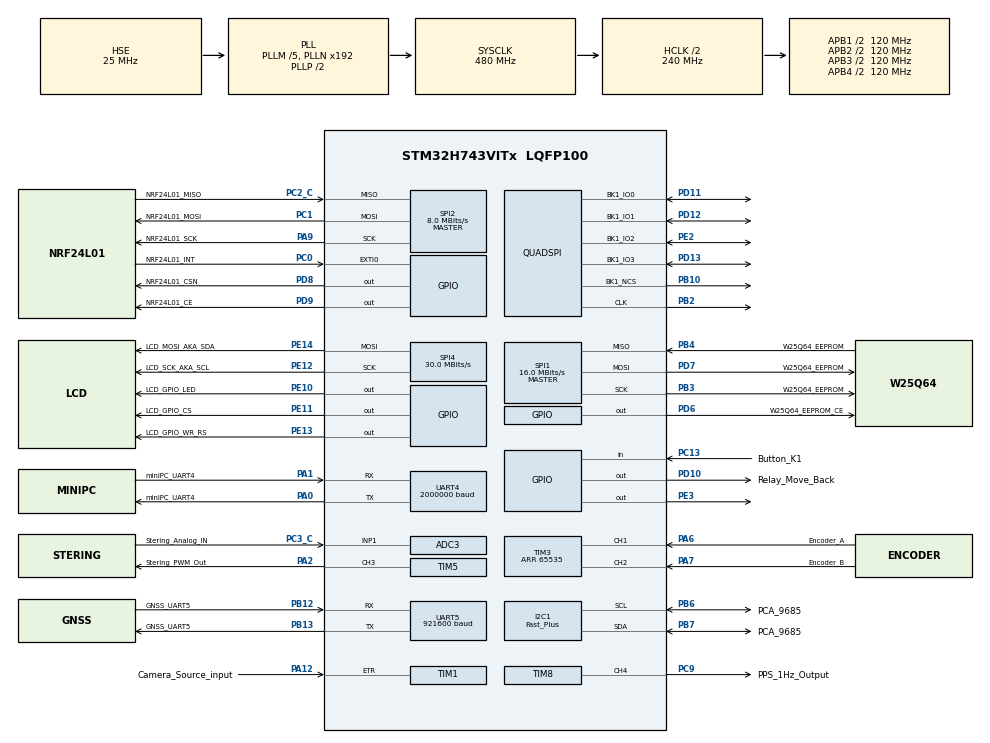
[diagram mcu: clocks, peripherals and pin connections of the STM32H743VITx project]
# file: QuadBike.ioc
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ADC3.Channel-1\#ChannelRegularConversion=ADC_CHANNEL_1
ADC3.ClockPrescalerADC3=ADC_CLOCK_ASYNC_DIV4
ADC3.ContinuousConvMode=DISABLE
ADC3.NbrOfConversion=1
ADC3.NbrOfConversionFlag=1
ADC3.OffsetNumber-1\#ChannelRegularConversion=ADC_OFFSET_NONE
ADC3.OffsetSignedSaturation-1\#ChannelRegularConversion=DISABLE
ADC3.OversamplingMode=ENABLE
ADC3.Rank-1\#ChannelRegularConversion=1
ADC3.Ratio=64
ADC3.Resolution=ADC_RESOLUTION_12B
ADC3.RightBitShift=ADC_RIGHTBITSHIFT_6
ADC3.SamplingTime-1\#ChannelRegularConversion=ADC_SAMPLETIME_810CYCLES_5
I2C1.I2C_Speed_Mode=I2C_Fast_Plus
I2C1.Timing=0x0050174F
Mcu.Family=STM32H7
Mcu.Name=STM32H743VITx
Mcu.Package=LQFP100
NVIC.EXTI0_IRQn=true\:0\:0\:false\:false\:true\:true\:true\:true
NVIC.PriorityGroup=NVIC_PRIORITYGROUP_4
NVIC.SPI4_IRQn=true\:0\:0\:false\:false\:true\:true\:true\:true
NVIC.TIM1_UP_IRQn=true\:0\:0\:false\:false\:true\:true\:true\:true
NVIC.TIM4_IRQn=true\:0\:0\:false\:false\:true\:true\:true\:true
NVIC.UART4_IRQn=true\:0\:0\:false\:false\:true\:true\:true\:true
NVIC.UART5_IRQn=true\:0\:0\:false\:false\:true\:true\:true\:true
PA0.GPIO_Label=miniPC_UART4
PA0.Mode=Asynchronous
PA0.Signal=UART4_TX
PA1.GPIO_Label=miniPC_UART4
PA1.Mode=Asynchronous
PA1.Signal=UART4_RX
PA12.GPIO_Label=Camera_Source_input
PA12.GPIO_PuPd=GPIO_NOPULL
PA12.GPIO_Speed=GPIO_SPEED_FREQ_LOW
PA12.Signal=S_TIM1_ETR
PA13\ (JTMS/SWDIO).Mode=Serial_Wire
PA13\ (JTMS/SWDIO).Signal=DEBUG_JTMS-SWDIO
PA14\ (JTCK/SWCLK).Mode=Serial_Wire
PA14\ (JTCK/SWCLK).Signal=DEBUG_JTCK-SWCLK
PA2.GPIO_Label=Stering_PWM_Out
PA2.Signal=S_TIM5_CH3
PA6.GPIO_Label=Encoder_A
PA6.GPIO_PuPd=GPIO_PULLDOWN
PA6.Signal=S_TIM3_CH1
PA7.GPIO_Label=Encoder_B
PA7.GPIO_PuPd=GPIO_PULLDOWN
PA7.Signal=S_TIM3_CH2
PA9.GPIO_Label=NRF24L01_SCK
PA9.Mode=Full_Duplex_Master
PA9.Signal=SPI2_SCK
PB10.Mode=Single Bank 1
PB10.Signal=QUADSPI_BK1_NCS
PB12.GPIO_Label=GNSS_UART5
PB12.Mode=Asynchronous
PB12.Signal=UART5_RX
PB13.GPIO_Label=GNSS_UART5
PB13.Mode=Asynchronous
PB13.Signal=UART5_TX
PB2.Mode=Single Bank 1
PB2.Signal=QUADSPI_CLK
PB3\ (JTDO/TRACESWO).GPIO_Label=W25Q64_EEPROM
PB3\ (JTDO/TRACESWO).Mode=Full_Duplex_Master
PB3\ (JTDO/TRACESWO).Signal=SPI1_SCK
PB4\ (NJTRST).GPIO_Label=W25Q64_EEPROM
PB4\ (NJTRST).Mode=Full_Duplex_Master
PB4\ (NJTRST).Signal=SPI1_MISO
PB6.GPIO_Label=PCA_9685
PB6.Mode=I2C
PB6.Signal=I2C1_SCL
PB7.GPIO_Label=PCA_9685
PB7.GPIO_Speed=GPIO_SPEED_FREQ_VERY_HIGH
PB7.Mode=I2C
PB7.Signal=I2C1_SDA
PC0.GPIO_Label=NRF24L01_INT
PC0.GPIO_ModeDefaultEXTI=GPIO_MODE_IT_FALLING
PC0.Signal=GPXTI0
PC1.GPIO_Label=NRF24L01_MOSI
PC1.Mode=Full_Duplex_Master
PC1.Signal=SPI2_MOSI
PC13.GPIO_Label=Button_K1
PC13.Signal=GPIO_Input
PC14-OSC32_IN\ (OSC32_IN).Mode=LSE-External-Oscillator
PC14-OSC32_IN\ (OSC32_IN).Signal=RCC_OSC32_IN
PC15-OSC32_OUT\ (OSC32_OUT).Mode=LSE-External-Oscillator
PC15-OSC32_OUT\ (OSC32_OUT).Signal=RCC_OSC32_OUT
PC2_C.GPIO_Label=NRF24L01_MISO
PC2_C.Mode=Full_Duplex_Master
PC2_C.Signal=SPI2_MISO
PC3_C.GPIO_Label=Stering_Analog_IN
PC3_C.Mode=IN1-Single-Ended
PC3_C.Signal=ADC3_INP1
PC9.GPIO_Label=PPS_1Hz_Output
PC9.GPIO_PuPd=GPIO_PULLDOWN
PC9.GPIO_Speed=GPIO_SPEED_FREQ_LOW
PC9.Signal=S_TIM8_CH4
PD10.GPIO_Label=Relay_Move_Back
PD10.Signal=GPIO_Output
PD11.Mode=Single Bank 1
PD11.Signal=QUADSPI_BK1_IO0
PD12.Mode=Single Bank 1
PD12.Signal=QUADSPI_BK1_IO1
PD13.Mode=Single Bank 1
PD13.Signal=QUADSPI_BK1_IO3
PD6.GPIO_Label=W25Q64_EEPROM_CE
PD6.Signal=GPIO_Output
PD7.GPIO_Label=W25Q64_EEPROM
PD7.Mode=Full_Duplex_Master
PD7.Signal=SPI1_MOSI
PD8.GPIO_Label=NRF24L01_CSN
PD8.GPIO_Speed=GPIO_SPEED_FREQ_HIGH
PD8.PinState=GPIO_PIN_SET
PD8.Signal=GPIO_Output
PD9.GPIO_Label=NRF24L01_CE
PD9.GPIO_Speed=GPIO_SPEED_FREQ_HIGH
PD9.Signal=GPIO_Output
PE10.GPIO_Label=LCD_GPIO_LED
PE10.Signal=GPIO_Output
PE11.GPIO_Label=LCD_GPIO_CS
PE11.Signal=GPIO_Output
PE12.GPIO_Label=LCD_SCK_AKA_SCL
PE12.Mode=TX_Only_Simplex_Unidirect_Master
PE12.Signal=SPI4_SCK
PE13.GPIO_Label=LCD_GPIO_WR_RS
PE13.Signal=GPIO_Output
PE14.GPIO_Label=LCD_MOSI_AKA_SDA
PE14.Mode=TX_Only_Simplex_Unidirect_Master
PE14.Signal=SPI4_MOSI
PE2.Mode=Single Bank 1
PE2.Signal=QUADSPI_BK1_IO2
PE3.Signal=GPIO_Output
PH0-OSC_IN\ (PH0).Mode=HSE-External-Oscillator
PH0-OSC_IN\ (PH0).Signal=RCC_OSC_IN
PH1-OSC_OUT\ (PH1).Mode=HSE-External-Oscillator
PH1-OSC_OUT\ (PH1).Signal=RCC_OSC_OUT
ProjectManager.HeapSize=0x200
ProjectManager.StackSize=0x400
ProjectManager.TargetToolchain=STM32CubeIDE
QUADSPI.ClockPrescaler=8
RCC.ADCFreq_Value=120000000
RCC.APB1Freq_Value=120000000
RCC.APB2Freq_Value=120000000
RCC.APB3Freq_Value=120000000
RCC.APB4Freq_Value=120000000
RCC.CKPERSourceSelection=RCC_CLKPSOURCE_HSE
RCC.CortexFreq_Value=480000000
RCC.D1PPRE=RCC_APB3_DIV2
RCC.D2PPRE1=RCC_APB1_DIV2
RCC.D2PPRE2=RCC_APB2_DIV2
RCC.D3PPRE=RCC_APB4_DIV2
RCC.DIVM1=5
RCC.DIVM2=5
RCC.DIVM3=5
RCC.DIVN1=192
RCC.DIVN2=48
RCC.DIVN3=48
RCC.DIVQ1=15
RCC.DIVR1=15
RCC.HCLKFreq_Value=240000000
RCC.HPRE=RCC_HCLK_DIV2
RCC.PLL2FRACN=0
RCC.PLL3FRACN=0
RCC.PLLSourceVirtual=RCC_PLLSOURCE_HSE
RCC.ProductRev=revV
RCC.RTCClockSelection=RCC_RTCCLKSOURCE_LSE
RCC.SYSCLKFreq_VALUE=480000000
RCC.SYSCLKSource=RCC_SYSCLKSOURCE_PLLCLK
RCC.SupplySource=PWR_LDO_SUPPLY
RCC.USBFreq_Value=64000000
SH.S_TIM1_ETR.0=TIM1_ETR,ClockSourceETR_Mode2
SH.S_TIM3_CH1.0=TIM3_CH1,Encoder_Interface
SH.S_TIM3_CH2.0=TIM3_CH2,Encoder_Interface
SH.S_TIM5_CH3.0=TIM5_CH3,PWM Generation3 CH3
SH.S_TIM8_CH4.0=TIM8_CH4,PWM Generation4 CH4
SPI1.BaudRatePrescaler=SPI_BAUDRATEPRESCALER_4
SPI1.CalculateBaudRate=16.0 MBits/s
SPI1.DataSize=SPI_DATASIZE_8BIT
SPI1.Direction=SPI_DIRECTION_2LINES
SPI1.Mode=SPI_MODE_MASTER
SPI1.VirtualType=VM_MASTER
SPI2.BaudRatePrescaler=SPI_BAUDRATEPRESCALER_8
SPI2.CalculateBaudRate=8.0 MBits/s
SPI2.DataSize=SPI_DATASIZE_8BIT
SPI2.Direction=SPI_DIRECTION_2LINES
SPI2.FirstBit=SPI_FIRSTBIT_MSB
SPI2.Mode=SPI_MODE_MASTER
SPI2.VirtualType=VM_MASTER
SPI4.BaudRatePrescaler=SPI_BAUDRATEPRESCALER_4
SPI4.CalculateBaudRate=30.0 MBits/s
SPI4.DataSize=SPI_DATASIZE_8BIT
SPI4.Direction=SPI_DIRECTION_2LINES_TXONLY
SPI4.FirstBit=SPI_FIRSTBIT_MSB
SPI4.Mode=SPI_MODE_MASTER
SPI4.VirtualType=VM_MASTER
TIM1.AutoReloadPreload=TIM_AUTORELOAD_PRELOAD_ENABLE
TIM1.Period=29
TIM1.TIM_MasterOutputTrigger=TIM_TRGO_UPDATE
TIM1.TIM_MasterSlaveMode=TIM_MASTERSLAVEMODE_DISABLE
TIM2.Prescaler=240-1
TIM3.ClockDivision=TIM_CLOCKDIVISION_DIV1
TIM3.CounterMode=TIM_COUNTERMODE_UP
TIM3.EncoderMode=TIM_ENCODERMODE_TI12
TIM3.IC1Filter=0
TIM3.IC2Filter=0
TIM3.Period=65535
TIM4.Period=9999
TIM4.Prescaler=239
TIM5.Channel-PWM\ Generation3\ CH3=TIM_CHANNEL_3
TIM5.Period=9999
TIM5.Prescaler=239
TIM5.Pulse-PWM\ Generation3\ CH3=1500
TIM8.AutoReloadPreload=TIM_AUTORELOAD_PRELOAD_ENABLE
TIM8.Channel-PWM\ Generation4\ CH4=TIM_CHANNEL_4
TIM8.OCMode_PWM-PWM\ Generation4\ CH4=TIM_OCMODE_PWM2
TIM8.Period=23999
TIM8.Pulse-PWM\ Generation4\ CH4=11999
TIM8.TIM_MasterSlaveMode=TIM_MASTERSLAVEMODE_DISABLE
UART4.BaudRate=2000000
UART5.BaudRate=921600
VP_RTC_VS_RTC_Activate.Mode=RTC_Enabled
VP_TIM2_VS_ClockSourceINT.Mode=Internal
VP_TIM4_VS_ClockSourceINT.Mode=Internal
VP_TIM5_VS_ClockSourceINT.Mode=Internal
VP_TIM8_VS_ClockSourceINT.Mode=Internal
VP_TIM8_VS_ClockSourceITR.Mode=TriggerSource_ITR0
VP_TIM8_VS_ControllerModeTrigger.Mode=Trigger Mode
VP_TIM8_VS_OPM.Mode=OPM_bit
board=custom

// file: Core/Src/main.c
/* USER CODE BEGIN Header */
/**
  ******************************************************************************
  * @file           : main.c
  * @brief          : Main program body
  ******************************************************************************
  * @attention
  *
  * <h2><center>&copy; Copyright (c) 2021 STMicroelectronics.
  * All rights reserved.</center></h2>
  *
  * This software component is licensed by ST under BSD 3-Clause license,
  * the "License"; You may not use this file except in compliance with the
  * License. You may obtain a copy of the License at:
  *                        opensource.org/licenses/BSD-3-Clause
  *
  ******************************************************************************
  */
/* USER CODE END Header */
#include "main.h"
#include "adc.h"
#include "i2c.h"
#include "quadspi.h"
#include "rtc.h"
#include "spi.h"
#include "tim.h"
#include "usart.h"
#include "gpio.h"

/* USER CODE BEGIN Includes */
#include <string.h>
#include <stdio.h>

/* USER CODE END Includes */

/* USER CODE BEGIN PTD */

typedef struct
{
  int16_t velocity;
  uint32_t last_counter_value;
}encoder_instance;

/* USER CODE END PTD */

/* USER CODE BEGIN PD */

#define DEGTORAD 0.0174532925199432957f
#define RADTODEG 57.295779513082320876f

#define min(a,b) ((a)<(b)?(a):(b))
#define max(a,b) ((a)>(b)?(a):(b))

#define MAX_PRECISION	(10)

// Параметры AS5600 через аналоговый выход
#define AS5600_ADC_MAX    4095    // 3.3 В → 4095 ADC
#define STEER_ADC_MIN     1127U   // Значение АЦП при мин. угле 1067 (0.86В) мультиметр, смещено 0.908В Смещение составило +0.048В
#define STEER_ADC_MAX     3013U   // Значение АЦП при макс. угле 2953 (2.38В) мультиметр, смещено 2.427В Смещение составило +0.047В
#define STEER_RANGE_DEG   180.0f  // Укажите реальный ход сервы в градусах (например, 180) 1.667В Это то напряжение, которое контроллер теперь считает идеальным центром

// Коэффициент фильтрации (0.01 - очень плавно, 1.0 - без фильтра)
#define STEER_FILTER_K    0.15f

// Пороги безопасности
#define SAFE_SPEED_FORWARD_CHANGE  20.0f
#define SAFE_SPEED_BACKWARD_CHANGE -20.0f

// ================================ PID Коэффициенты Мотора ================================ //

#define KP_SPEED_MOTOR  5.0f
#define KD_SPEED_MOTOR  10.0f
#define KI_SPEED_MOTOR  0.00001f
#define DERIV_THRESH_MOTOR   0.25f

// Ограничения интеграла (защита от переполнения и накопления)
#define INTEGRAL_LIMIT_MOTOR       4.095e8f
#define INTEGRAL_LIMIT_MOTOR_NEG  -4.095e8f

#define INTEGRAL_LIMIT_BRAKE       4.095e8f
#define INTEGRAL_LIMIT_BRAKE_NEG   0.0f

#define KP_SPEED_BRAKE 1.0f
#define KD_SPEED_BRAKE 1.0f
#define KI_SPEED_BRAKE 0.00000001f
#define DERIV_THRESH_BRAKE 0.25f

#define MOTOR_PWM_MAX  4095

#define SERVO_ANGLE_MAX  125

// ============================================================
// ПАРАМЕТРЫ РЕГУЛЯТОРА УГЛОВОЙ СКОРОСТ�?
// ============================================================

// Геометрия
#define WHEELBASE 0.70f   // Колёсная база [м]

// Ограничения
#define MAX_STEER_ANGLE 0.471239    // Макс. угол сервы [рад] (~30 градусов ранее был 20)
#define max_centrifugal 4.0f      // макс. допустимое боковое ускорение (м/с²) ≈0.4g
#define safe_max_coff   1.25f     // Буфер для ограничения угла поврота колеса по центробежной силе

// Константы
#define ENCODER_TICKS_PER_REV   4096        // 1024 PPR * 4
#define GEAR_RATIO              6.545454f   // 72/11
#define WHEEL_DIAMETER          0.945f      // м
#define WHEEL_CIRCUMFERENCE     (WHEEL_DIAMETER * M_PI)  // 2.969 м
#define Servo_to_wheel_ratio    0.9166f      // Передаточное число для сервы ((20 + 35) / 2) / 30 =.

// Коэффициент: тики → метры
#define TICKS_TO_METERS         (WHEEL_CIRCUMFERENCE / (ENCODER_TICKS_PER_REV * GEAR_RATIO))
#define TICKS_PER_METER         (ENCODER_TICKS_PER_REV * GEAR_RATIO / WHEEL_CIRCUMFERENCE)

// ============================================================
// ПАРАМЕТРЫ HEARTBEAT (контроль связи с Mini-PC)
// ============================================================

#define HEARTBEAT_TIMEOUT_MS     500     // Таймаут связи (мс)
#define HEARTBEAT_COUNTER_MAX     10     // Максимум пропущенных пакетов

/* USER CODE END PD */

/* USER CODE BEGIN PV */

  float vFilt;

  float vFilt_stage1 = 0.0f;

  float alpha = 0.118f;   // fc ≈ 2 Гц, fs = 100 Гц

  arm_biquad_cascade_df2T_instance_f32 S_velocity_lpf;
  float32_t velocity_lpf_state[2] = {0};   // 2 состояния на 1 секцию

  arm_biquad_cascade_df2T_instance_f32 S_steer_lpf;
  float32_t steer_lpf_state[2] = {0};

  const float32_t lpf_coeffs[5] = {
       0.0009448f,   // b0
       0.0018896f,   // b1
       0.0009448f,   // b2
       1.93404f,     // -a1
      -0.93784f      // -a2
  };

  const float32_t steer_lpf_coeffs[5] = {
       0.06745f,    // b0
       0.13490f,    // b1
       0.06745f,    // b2
       1.14290f,    // -a1
      -0.41279f     // -a2
  };

  float velosity;
  float servo_angle_deg;
  float filtered_angle = 0.0f;

  // Heartbeat (контроль связи с Mini-PC)
  uint32_t last_rx_time;           // Время последнего полученного пакета
  uint8_t heartbeat_fail_counter;  // Счётчик пропущенных heartbeat
  uint8_t connection_lost;         // Флаг потери связи

  float k;
  float filVal;

  uint32_t lastUpdate; // used to calculate integration interval
  uint32_t lastUpdate_check;
  uint32_t lastUpdate_encoder;
  uint32_t Now;                         // used to calculate integration interval

  uint32_t deltaTime;

  float last_Integral_Motor;
  float last_Integral_Brake;

  float Last_Error_Motor;
  float Last_Error_Brake;

  int16_t Output_Motor;
  int16_t Output_Brake;
  int16_t Output_ServoBrake;

   uint8_t flag_pca9685;
   uint8_t flag_encoder;
   uint8_t flag_nrf24l01;

   // data array to be read
   uint8_t rx_data[NRF24L01P_PAYLOAD_LENGTH] = {0};

   uint8_t UART4_BUFFER [PKT_MAX_PAYLOAD + 5] = {0};
   uint8_t UART5_BUFFER [PKT_MAX_PAYLOAD + 5] = {0};

   volatile ctrl_mode_t current_mode = CTRL_MODE_MANUAL;

   Pkt_PCA_t  pca9685;
   Pkt_MPI_t  mppi_ctrl;
   Pkt_Tele_t telem;

   encoder_instance encoder;

   static pkt_rx_t rx_pkt;

   /* ============ RX ============ */
   volatile uint8_t  uart4_rx_buf[2][UART4_RX_BUF_SIZE];
   volatile uint8_t  uart4_rx_active = 0;
   volatile uint16_t uart4_rx_idx = 0;

   volatile uint8_t  uart4_pkt_queue[UART4_PKT_QUEUE_SIZE][UART4_RX_BUF_SIZE];
   volatile uint16_t uart4_pkt_len_queue[UART4_PKT_QUEUE_SIZE];
   volatile uint8_t  uart4_pkt_head = 0;
   volatile uint8_t  uart4_pkt_tail = 0;
   volatile uint32_t uart4_pkt_dropped = 0;

   volatile uint32_t uart4_total_bytes = 0;
   volatile uint32_t uart4_total_packets = 0;

   /* ============ TX ============ */
   volatile uint8_t  uart4_tx_buf[UART4_TX_BUF_SIZE];
   volatile uint16_t uart4_tx_head = 0;
   volatile uint16_t uart4_tx_tail = 0;
   volatile uint8_t  uart4_tx_busy = 0;

   volatile uint32_t uart4_tx_total_bytes = 0;
   volatile uint32_t uart4_tx_overflow = 0;

/* USER CODE END PV */

void SystemClock_Config(void);
/* USER CODE BEGIN PFP */

// for tx interrupt
void HAL_GPIO_EXTI_Callback(uint16_t GPIO_Pin);

/* USER CODE END PFP */

/* USER CODE BEGIN 0 */

// ============================================================
// ФУНКЦИИ
// ============================================================

static const double rounders[MAX_PRECISION + 1] =
{
	0.5,				// 0
	0.05,				// 1
	0.005,				// 2
	0.0005,				// 3
	0.00005,			// 4
	0.000005,			// 5
	0.0000005,			// 6
	0.00000005,			// 7
	0.000000005,		// 8
	0.0000000005,		// 9
	0.00000000005		// 10
};

char * ftoa(double f, char * buf, int precision)
{
	char * ptr = buf;
	char * p = ptr;
	char * p1;
	char c;
	long intPart;

	// check precision bounds
	if (precision > MAX_PRECISION)
		precision = MAX_PRECISION;

	// sign stuff
	if (f < 0)
	{
		f = -f;
		*ptr++ = '-';
	}

	if (precision < 0)  // negative precision == automatic precision guess
	{
		if (f < 1.0) precision = 6;
		else if (f < 10.0) precision = 5;
		else if (f < 100.0) precision = 4;
		else if (f < 1000.0) precision = 3;
		else if (f < 10000.0) precision = 2;
		else if (f < 100000.0) precision = 1;
		else precision = 0;
	}

	// round value according the precision
	if (precision)
		f += rounders[precision];

	// integer part...
	intPart = f;
	f -= intPart;

	if (!intPart)
		*ptr++ = '0';
	else
	{
		// save start pointer
		p = ptr;

		// convert (reverse order)
		while (intPart)
		{
			*p++ = '0' + intPart % 10;
			intPart /= 10;
		}

		// save end pos
		p1 = p;

		// reverse result
		while (p > ptr)
		{
			c = *--p;
			*p = *ptr;
			*ptr++ = c;
		}

		// restore end pos
		ptr = p1;
	}

	// decimal part
	if (precision)
	{
		// place decimal point
		*ptr++ = '.';

		// convert
		while (precision--)
		{
			f *= 10.0;
			c = f;
			*ptr++ = '0' + c;
			f -= c;
		}
	}

	// terminating zero
	*ptr = 0;

	return buf;
}

/**
 * @brief Сброс регулятора
 */

void reset_controllers(void) {
    last_Integral_Motor = 0.0f;
    last_Integral_Brake = 0.0f;
    Last_Error_Motor = 0.0f;
    Last_Error_Brake = 0.0f;

    // Возврат сервы в центр
    servo_angle_deg = 90.0f;

    // Остановка мотора
    Output_Motor = 0;
    Output_Brake = 0;
}

/**
 * @brief  Неблокирующая отправка через UART4.
 *         Кладёт байты в кольцевой буфер и запускает прерывание TXE.
 * @param  data  указатель на данные
 * @param  len   длина
 * @retval 1 — всё уложено в буфер, 0 — не хватило места
 */
uint8_t uart4_send(const uint8_t *data, uint16_t len)
{
    for (uint16_t i = 0; i < len; i++) {
        uint16_t next = (uart4_tx_head + 1) % UART4_TX_BUF_SIZE;
        if (next == uart4_tx_tail) {
            // буфер полон — пакет не влез
            uart4_tx_overflow++;
            return 0;
        }
        uart4_tx_buf[uart4_tx_head] = data[i];
        uart4_tx_head = next;
    }

    // Если передача не идёт — запускаем её, включив прерывание TXE
    if (!uart4_tx_busy) {
        uart4_tx_busy = 1;
        __HAL_UART_ENABLE_IT(&huart4, UART_IT_TXE);
    }

    uart4_tx_total_bytes += len;
    return 1;
}

/**
 * @brief Проверка связи с Mini-PC
 * Вызывать в основном цикле (loop)
 */
void check_connection(void)
{
    uint32_t now = HAL_GetTick();

    // Если связь была потеряна, но команда уже сброшена — ничего не делаем
    if(connection_lost) return;

    // Проверяем, был ли пакет за последние HEARTBEAT_TIMEOUT_MS мс
    if(now - last_rx_time > HEARTBEAT_TIMEOUT_MS)
    {
        heartbeat_fail_counter++;

        if(heartbeat_fail_counter >= HEARTBEAT_COUNTER_MAX)
        {
            // Связь потеряна — аварийная остановка
            connection_lost = 1;

            current_mode = CTRL_MODE_MANUAL;

            pca9685.w_cmd = 0.0f;      // Обнуляем команду угловой скорости
            pca9685.setpoint = 0.0f;    // Обнуляем команду линейной скорости

            mppi_ctrl.steer_angle = 0.0f;
            mppi_ctrl.throttle = 0.0f;
            mppi_ctrl.brake = 1.0f;  // полный тормоз

            // Опционально: включить аварийную остановку
            // pca9685.stop = 2;        // если есть такая функция

            // Сброс PID регулятора (чтобы не было рывка при восстановлении)
            reset_controllers();
        }
    }
    else
    {
        // Связь есть — сбрасываем счётчик
        heartbeat_fail_counter = 0;

        connection_lost = 0;
    }
}

/**
 * @brief Чтение угла с калибровкой и фильтрацией шумов
 * @return Угол в градусах (0 - STEER_RANGE_DEG)
 */
float read_steering_angle(void)
{
    uint16_t adc_value = 0;

    // 1. Чтение АЦП
    HAL_ADC_Start(&hadc3);
    if(HAL_ADC_PollForConversion(&hadc3, 10) == HAL_OK) {
        adc_value = HAL_ADC_GetValue(&hadc3);
    }
    HAL_ADC_Stop(&hadc3);

    // 2. Масштабирование в градусы
    float raw_angle = (float)(adc_value - STEER_ADC_MIN) * STEER_RANGE_DEG
                    / (float)(STEER_ADC_MAX - STEER_ADC_MIN);

    // 3. Clamp — защита от вылета за границы
    if (raw_angle < 0.0f) raw_angle = 0.0f;
    if (raw_angle > STEER_RANGE_DEG) raw_angle = STEER_RANGE_DEG;

    // 4. Биквад Баттерворта 2-го порядка, fc = 10 Гц
    float32_t angle_in = raw_angle;
    float32_t angle_out;
    arm_biquad_cascade_df2T_f32(&S_steer_lpf, &angle_in, &angle_out, 1);
    filtered_angle = angle_out;

    return filtered_angle;
}

// Для удобства управления: -180°..0..+180°
float get_steering_angle_signed(void)
{
    float angle = read_steering_angle();

    // Преобразуем 0-360° в -180..+180°
    if(angle > 180.0f) angle = angle - 360.0f;
    if(angle < -180.0f) angle = angle + 360.0f;

    return angle;  // -180..+180
}

/**
 * @brief Ограничение угла поврота сервы в зависимости от центробежной скорости
 *
 */
float getSafeMaxSteer(float v_fwd) {
    if (fabs(v_fwd) < 0.5f) return MAX_STEER_ANGLE;
    float v2 = v_fwd * v_fwd;
    float safe_tan = (max_centrifugal * WHEELBASE) / v2;
    return min(MAX_STEER_ANGLE, atan(safe_tan));
}

/**
 * @brief Установка угла сервы через TIM5 (аппаратный Ш�?М)
 * @param angle_deg Угол в градусах (0-180)
 */
void set_servo_angle_tim5(float angle_deg)
{
    // Ограничение угла
    if(angle_deg > 180.0f) angle_deg = 180.0f;
    if(angle_deg < 0.0f) angle_deg = 0.0f;

    // Расчёт pulse в мкс: 0° = 500 мкс, 180° = 2500 мкс
    // pulse_us = 500 + (angle_deg / 180.0f) * 2000
    float pulse_us = 500.0f + (angle_deg / 180.0f) * 2000.0f;

    // Тактовая частота таймера = 1 МГц (1 тик = 1 мкс)
    // Значение CCR = pulse_us (так как 1 тик = 1 мкс)
    uint32_t ccr = (uint32_t)pulse_us;

    // Ограничение по ARR (ARR = 9999)
    if(ccr > 9999) ccr = 9999;

    __HAL_TIM_SET_COMPARE(&htim5, TIM_CHANNEL_3, ccr);
}

/**
 * @brief Ограничение значения
 */
static inline float clamp(float val, float min_val, float max_val)
{
    if (val > max_val) return max_val;
    if (val < min_val) return min_val;
    return val;
}

float calculate (float A2, float B2, float C2) {
    uint8_t A2_gt_B2 = (A2 > B2) ? 1 : 0;
    uint8_t C2_gt_A2 = (C2 - A2 > 0) ? 1 : 0;
    uint8_t A2_lt_0 = (A2 < 0) ? 1 : 0;
    uint8_t B2_lt_0 = (B2 < 0) ? 1 : 0;
    uint8_t C2_lt_0 = (C2 < 0) ? 1 : 0;
    uint8_t B2_eq_A2 = (B2 == A2) ? 1 : 0;

    if (A2_gt_B2) {
        return (C2_gt_A2) ? ((A2_lt_0 && B2_lt_0) ? C2 : -B2) : 0;
    } else if (A2_lt_0) {
        return (B2_lt_0 && C2_lt_0) ? 0 : (B2_eq_A2 ? 0 : B2);
    } else {
        return -C2;
    }
}

float expRunningAverage(float newVal) {
  filVal += (newVal - filVal) * k;
  return filVal;
}

void uart(void)
{
    while (uart4_pkt_tail != uart4_pkt_head) {
        uint16_t len = uart4_pkt_len_queue[uart4_pkt_tail];
        for (uint16_t i = 0; i < len; i++) {
            if (pkt_rx_feed(&rx_pkt, uart4_pkt_queue[uart4_pkt_tail][i])) {
                switch (rx_pkt.cmd) {
                    case PKT_CMD_PCA:
                        if (rx_pkt.len == sizeof(Pkt_PCA_t) &&
                            current_mode == CTRL_MODE_MANUAL) {
                            Pkt_PCA_t *p = (Pkt_PCA_t*)rx_pkt.payload;
                            pca9685.w_cmd    = p->w_cmd;
                            pca9685.setpoint = p->setpoint;
                            pca9685.stop     = p->stop;
                            flag_pca9685 = 1;
                            last_rx_time = HAL_GetTick();
                            heartbeat_fail_counter = 0;
                            connection_lost = 0;
                        }
                        break;

                    case PKT_CMD_MPI:
                        if (rx_pkt.len == sizeof(Pkt_MPI_t) &&
                            current_mode == CTRL_MODE_MPPI) {
                            Pkt_MPI_t *p = (Pkt_MPI_t*)rx_pkt.payload;
                            mppi_ctrl.steer_angle = p->steer_angle;
                            mppi_ctrl.throttle    = p->throttle;
                            mppi_ctrl.brake       = p->brake;
                            flag_pca9685 = 1;
                            last_rx_time = HAL_GetTick();
                            heartbeat_fail_counter = 0;
                            connection_lost = 0;
                        }
                        break;

                    case PKT_CMD_MODE:
                        if (rx_pkt.len >= 1) {
                            ctrl_mode_t req = (rx_pkt.payload[0] == 1)
                                            ? CTRL_MODE_MPPI : CTRL_MODE_MANUAL;
                            if (req != current_mode) {
                                current_mode = req;
                                reset_controllers();
                            }
                            uint8_t ack_buf[8];
                            uint8_t m = (uint8_t)current_mode;
                            uint16_t n = pkt_build(ack_buf, PKT_CMD_MODE_ACK, &m, 1);
                            if (!uart4_send(ack_buf, n)) {
                                uart4_tx_overflow++;
                            }
                        }
                        break;

                    case PKT_CMD_PING: {
                        uint8_t pong_buf[8];
                        uint16_t n = pkt_build(pong_buf, PKT_CMD_PONG, NULL, 0);
                        if (!uart4_send(pong_buf, n)) {
                            uart4_tx_overflow++;
                        }
                        break;
                    }

                    default:
                        break;
                }
            }
        }
        uart4_pkt_tail = (uart4_pkt_tail + 1) % UART4_PKT_QUEUE_SIZE;
    }
}

//Loop 100Hz
void update_encoder(void)
{
    Now = htim2.Instance->CNT;
    deltaTime = Now - lastUpdate_encoder;
    lastUpdate_encoder = Now;

    if (deltaTime > 100000) deltaTime = 100000;
    if (deltaTime < 1000) deltaTime = 1000;

    uint32_t temp_counter = __HAL_TIM_GET_COUNTER(&htim3);

    // Расчёт скорости энкодера
    if (temp_counter == encoder.last_counter_value)
    {
        encoder.velocity = 0;
    }
    else if (temp_counter > encoder.last_counter_value)
    {
        if (__HAL_TIM_IS_TIM_COUNTING_DOWN(&htim3))
            encoder.velocity = -encoder.last_counter_value - (__HAL_TIM_GET_AUTORELOAD(&htim3) - temp_counter);
        else
            encoder.velocity = temp_counter - encoder.last_counter_value;
    }
    else
    {
        if (__HAL_TIM_IS_TIM_COUNTING_DOWN(&htim3))
            encoder.velocity = temp_counter - encoder.last_counter_value;
        else
            encoder.velocity = temp_counter + (__HAL_TIM_GET_AUTORELOAD(&htim3) - encoder.last_counter_value);
    }
    encoder.last_counter_value = temp_counter;
    velosity = (float)-encoder.velocity;

    float32_t v_in = velosity;
    float32_t v_out;
    arm_biquad_cascade_df2T_f32(&S_velocity_lpf, &v_in, &v_out, 1);
    vFilt = v_out;

    vFilt_stage1 = alpha * velosity + (1.0f - alpha) * vFilt_stage1;
    vFilt = alpha * vFilt_stage1 + (1.0f - alpha) * vFilt;

    // ================================ Обновление скорости (м/с) ================================ //
    float deltaTime_sec = deltaTime / 1000000.0f;  // мкс → сек
    float setpoint_ticks = pca9685.setpoint * TICKS_PER_METER * deltaTime_sec;
    telem.velosity_1d_mps = vFilt * TICKS_TO_METERS / deltaTime_sec;

       // ================================ РЕЖИМ MPPI ================================ //
        if (current_mode == CTRL_MODE_MPPI)
        {
               // 1. Серва рулевая
               float steer_deg = mppi_ctrl.steer_angle * RADTODEG;
               float servo_angle = 90.0f + steer_deg * (30.0f / (MAX_STEER_ANGLE * RADTODEG));
               if (servo_angle > 120.0f) servo_angle = 120.0f;
               if (servo_angle < 60.0f) servo_angle = 60.0f;
               set_servo_angle_tim5(servo_angle);

               // 2. Мотор
               float throttle = mppi_ctrl.throttle;
               uint16_t pwm_abs = (uint16_t)(fabsf(throttle) * 4095.0f);
               if (pwm_abs > 4095) pwm_abs = 4095;

               if (throttle > 0.01f) {
                   PCA9685_Forward();
                   PCA9685_SetPin(0, pwm_abs, 0);
               } else if (throttle < -0.01f) {
                   PCA9685_Back();
                   PCA9685_SetPin(0, pwm_abs, 0);
               } else {
                   PCA9685_SetPin(0, 0, 0);
               }

               // 3. Тормоз
               float brake_angle = mppi_ctrl.brake * 125.0f;
               if (brake_angle < 0.0f) brake_angle = 0.0f;
               if (brake_angle > 125.0f) brake_angle = 125.0f;
               PCA9685_SetServoAngle(1, brake_angle);

               flag_pca9685 = 0;
               return;  // ПИД-регуляторы не вызываем
    }

        // ===== РЕГУЛЯТОР УГЛОВОЙ СКОРОСТИ =====

        float safe_max = getSafeMaxSteer(telem.velosity_1d_mps);
        float safe_max_angle = safe_max * safe_max_coff;

        float abs_v = fabsf(telem.velosity_1d_mps);

        float ads_s = fabsf(pca9685.setpoint);

        if (abs_v > 0.1f) {

           float blend = ads_s / 6.5f;

           // Взвешенный знаменатель
           float v_denom = (1.0f - blend) * ads_s + blend * abs_v;

           float steer_rad = atan2f(pca9685.w_cmd * WHEELBASE, v_denom);

           steer_rad = clamp(steer_rad, -safe_max_angle, safe_max_angle);

           if (steer_rad >  MAX_STEER_ANGLE) steer_rad =  MAX_STEER_ANGLE;
           if (steer_rad < -MAX_STEER_ANGLE) steer_rad = -MAX_STEER_ANGLE;

           servo_angle_deg = 90.0f - steer_rad * RADTODEG;

           if (servo_angle_deg > 120.0f) servo_angle_deg = 120.0f;
           if (servo_angle_deg < 60.0f)  servo_angle_deg = 60.0f;

        }

       set_servo_angle_tim5(servo_angle_deg);

    // ================================ Ограничение скорости по кривизне ================================ //
    if (pca9685.setpoint >= 0.0f) {
        float curvature = fabsf(pca9685.w_cmd) / fmaxf(abs_v, 0.1f);
        float min_radius = WHEELBASE / tanf(safe_max);
        float v_limited = pca9685.setpoint;

        if (curvature > 1e-6f) {
            float radius = 1.0f / curvature;
            if (radius < min_radius) {
                v_limited = pca9685.setpoint * (radius / min_radius);
            }
        }
        if (v_limited < pca9685.setpoint) {
            pca9685.setpoint = v_limited;
        }
    }

    // ================================ PID Control Motor ================================ //

    float Error_Motor = setpoint_ticks - vFilt;

    float Delta_Motor = (Error_Motor - Last_Error_Motor) / deltaTime; Last_Error_Motor = Error_Motor;

    if (Delta_Motor > DERIV_THRESH_MOTOR)  Delta_Motor -= DERIV_THRESH_MOTOR;
    if (Delta_Motor < -DERIV_THRESH_MOTOR) Delta_Motor += DERIV_THRESH_MOTOR;

    float Integral_Motor = last_Integral_Motor + Error_Motor * deltaTime; last_Integral_Motor = Integral_Motor;

    if (Integral_Motor > INTEGRAL_LIMIT_MOTOR)  Integral_Motor = INTEGRAL_LIMIT_MOTOR;
    if (Integral_Motor < INTEGRAL_LIMIT_MOTOR_NEG) Integral_Motor = INTEGRAL_LIMIT_MOTOR_NEG;

    Output_Motor = (int16_t)(KP_SPEED_MOTOR * Error_Motor + KD_SPEED_MOTOR * Delta_Motor + KI_SPEED_MOTOR * Integral_Motor);

    if (fabsf(pca9685.setpoint) < 1e-6f) { Output_Motor = 0; last_Integral_Motor = 0.0f; Integral_Motor = 0.0f; }

    // ================================ PID Control Brake ================================ //

    float Error_Brake = expRunningAverage(calculate(setpoint_ticks, vFilt, Error_Motor));

    float Delta_Brake = (Error_Brake - Last_Error_Brake) / deltaTime; Last_Error_Brake = Error_Brake;

    if (Delta_Brake > DERIV_THRESH_BRAKE) Delta_Brake -= DERIV_THRESH_BRAKE;
    if (Delta_Brake < -DERIV_THRESH_BRAKE)  Delta_Brake += DERIV_THRESH_BRAKE;

    float Integral_Brake = last_Integral_Brake + Error_Brake * deltaTime; last_Integral_Brake = Integral_Brake;

    if (Integral_Brake > INTEGRAL_LIMIT_BRAKE)  Integral_Brake = INTEGRAL_LIMIT_BRAKE;
    if (Integral_Brake < INTEGRAL_LIMIT_BRAKE_NEG) Integral_Brake = INTEGRAL_LIMIT_BRAKE_NEG;

    Output_Brake = (int16_t)(KP_SPEED_BRAKE * Error_Brake + Delta_Brake * KD_SPEED_BRAKE + Integral_Brake * KI_SPEED_BRAKE);

    if (Error_Brake < 1.0f) { Output_Brake = 0; last_Integral_Brake = 0.0f; Integral_Brake = 0.0f;}

    flag_pca9685 = 1;
}

void loop (void) {

	Now = htim2.Instance->CNT;

	uart();

	if ((Now - lastUpdate_check) > 10000) { // каждые 10 мс (100 Гц)

		lastUpdate_check = Now;

		check_connection();

	     telem.stering_angle = (get_steering_angle_signed() - 90.0f) * Servo_to_wheel_ratio;

	     Pkt_Tele_t tel;
	     tel.stering_angle = telem.stering_angle;
	     tel.velosity_1d_mps = telem.velosity_1d_mps;

	     uint8_t buf[32];
	     uint16_t n = pkt_build(buf, PKT_CMD_TELE, &tel, sizeof(tel));
	     if (!uart4_send(buf, n)) {
	         uart4_tx_overflow++;
	     }
	 }

	 if((Now - lastUpdate) > 100000) {
	     char screen_lines[8][24];
	     char f_buf[16];

	     // 0. СКОРОСТЬ
	     ftoa(telem.velosity_1d_mps, f_buf, 2);
	     sprintf(screen_lines[0], "Speed: %s m/s", f_buf);

	     // 1. УГОЛ РУЛЯ
	     ftoa(telem.stering_angle, f_buf, 1);
	     sprintf(screen_lines[1], "SteerA: %s deg", f_buf);

	     // 2. СЕРВО + ТОРМОЗ + РЕЖ�?М
	     ftoa(servo_angle_deg, f_buf, 1);
	     sprintf(screen_lines[2], "S:%s B:%d M:%s", f_buf,
	             Output_Brake, (current_mode == CTRL_MODE_MPPI) ? "1" : "2");

	     // 3. УСТАВК�? от miniPC (v и w)
	     sprintf(screen_lines[3], "sp:%.2f/%.2f", pca9685.setpoint, pca9685.w_cmd);

	     // 4. СВЯЗЬ (lost + heartbeat counter)
	     sprintf(screen_lines[4], "L:%d hb:%d rx:%lu",
	             connection_lost, heartbeat_fail_counter, last_rx_time);

	     // 5. PID МОТОР (ошибка и выход) + период
	     float sp_ticks_lcd = pca9685.setpoint * TICKS_PER_METER * (deltaTime / 1000000.0f);
	     float error_lcd = sp_ticks_lcd - vFilt;
	     ftoa(error_lcd, f_buf, 1);
	     sprintf(screen_lines[5], "E:%s OM:%d dt:%lu",
	             f_buf, Output_Motor, deltaTime);

	     // 6. ТОРМОЗ (угол) + скорость в тиках
	     ftoa(vFilt, f_buf, 1);
	     sprintf(screen_lines[6], "vF:%s Br:%d", f_buf, Output_Brake);

	     // 7. UART4 диагностика
	     sprintf(screen_lines[7], "P%lu D%lu T%lu",
	             uart4_total_packets, uart4_pkt_dropped, uart4_tx_total_bytes);

	     ST7735_PrintTelemetry_IT(screen_lines, Font_7x10, ST7735_GREEN, ST7735_BLACK);
	 }

	if(flag_nrf24l01) { flag_nrf24l01 = 0;

	  nrf24l01p_rx_receive(rx_data); // read data when data ready flag is set
	}

//	if(flag_pca9685) {

//		  if(pca9685.stop > 1) Output_Motor = 0;
//		  if(Output_Motor > 0 && vFilt > -20.0f) {PCA9685_Forward(); PCA9685_SetPin(0, Output_Motor, 0);}
//		  if(Output_Motor == 0) { PCA9685_SetPin(0, 0, 0);}
//		  if(Output_Motor == 0 && fabsf(vFilt) < 0.01f) { PCA9685_SetPin(0, 0, 0); PCA9685_Forward();}
//		  if(Output_Motor < 0 && vFilt < 20.0f) {PCA9685_Back(); PCA9685_SetPin(0, -Output_Motor, 0); }

//		  if(pca9685.turn > 110.0f) pca9685.turn = 110.0f;
//		  if(pca9685.turn < 70.0f) pca9685.turn = 70.0f;
//		  PCA9685_SetServoAngle(1, pca9685.turn);
//		  Output_ServoBrake = pca9685.stop + Output_Brake;
//		  if(Output_ServoBrake > 120) Output_ServoBrake = 120;
//		  PCA9685_SetServoAngle(2, Output_ServoBrake);

//		  flag_pca9685 = 0;
//	}

	if(flag_pca9685)
	{
	    // Аварийная остановка
	    if(pca9685.stop > 1)
	    {
	        Output_Motor = 0;
	    }

	    // Получаем абсолютное значение для PWM
	    uint16_t pwm_abs = (Output_Motor > 0) ? Output_Motor : -Output_Motor;
	    if(pwm_abs > MOTOR_PWM_MAX) pwm_abs = MOTOR_PWM_MAX;

	    // Управление
	    if(Output_Motor > 0 && vFilt > SAFE_SPEED_BACKWARD_CHANGE)
	    {
	        PCA9685_Forward();
	        PCA9685_SetPin(0, pwm_abs, 0);
	    }
	    else if(Output_Motor < 0 && vFilt < SAFE_SPEED_FORWARD_CHANGE)
	    {
	        PCA9685_Back();
	        PCA9685_SetPin(0, pwm_abs, 0);
	    }
	    else if(Output_Motor == 0)
	    {
	        PCA9685_SetPin(0, 0, 0);
	        if(fabsf(vFilt) < 0.01f)
	        {
	            PCA9685_Forward();
	        }
	    }

	    // Тормоз
	    Output_ServoBrake = pca9685.stop + Output_Brake;
	    if(Output_ServoBrake > SERVO_ANGLE_MAX) Output_ServoBrake = SERVO_ANGLE_MAX;
	    if(Output_ServoBrake < 0) Output_ServoBrake = 0;
	    PCA9685_SetServoAngle(1, Output_ServoBrake);

	    flag_pca9685 = 0;
	}
}

/* USER CODE END 0 */

int main(void)
{
  /* USER CODE BEGIN 1 */

  arm_biquad_cascade_df2T_init_f32(

   &S_velocity_lpf,
   1,                          // 1 секция = 2-й порядок
   lpf_coeffs,
   velocity_lpf_state

  );

  arm_biquad_cascade_df2T_init_f32(
     &S_steer_lpf,
     1,
     steer_lpf_coeffs,
     steer_lpf_state
  );

  connection_lost = 0;
  heartbeat_fail_counter = 0;
  last_rx_time = 0;

  Output_Motor = 0;
  Output_Brake = 0;
  Output_ServoBrake = 0;

  Last_Error_Motor = 0.0f;
  Last_Error_Brake = 0.0f;

  last_Integral_Motor = 0.0f;
  last_Integral_Brake = 0.0f;

  deltaTime = 0;
  lastUpdate_check = 0;

  vFilt = 0.0f;

  velosity = 0.0f;

  flag_encoder = 0;

  current_mode = CTRL_MODE_MANUAL;
  mppi_ctrl.steer_angle = 0.0f;
  mppi_ctrl.throttle = 0.0f;
  mppi_ctrl.brake = 0.0f;

  pca9685.w_cmd = 0.0f;
  pca9685.stop = 0;
  pca9685.setpoint = 0.0f;

  servo_angle_deg = 90.0f;
  telem.velosity_1d_mps = 0.0f;
  telem.stering_angle = 0.0f;

  encoder.velocity = 0;
  encoder.last_counter_value = 32767;

  flag_pca9685  = 0;
  flag_nrf24l01 = 0;

  k = 0.01f;
  filVal = 0.0f;

  uart4_rx_idx = 0;

  uart4_tx_head = 0;
  uart4_tx_tail = 0;
  uart4_tx_busy = 0;
  uart4_tx_overflow = 0;
  uart4_tx_total_bytes = 0;

  /* USER CODE END 1 */

  /* MCU Configuration--------------------------------------------------------*/

  /* Reset of all peripherals, Initializes the Flash interface and the Systick. */
  HAL_Init();

  /* Configure the system clock */
  SystemClock_Config();

  /* Initialize all configured peripherals */
  MX_GPIO_Init();
  MX_QUADSPI_Init();
  MX_SPI1_Init();
  MX_SPI4_Init();
  MX_SPI2_Init();
  MX_UART4_Init();
  MX_UART5_Init();
  MX_TIM2_Init();
  MX_I2C1_Init();
  MX_TIM3_Init();
  MX_TIM4_Init();
  MX_ADC3_Init();
  MX_TIM5_Init();
  MX_RTC_Init();
  MX_TIM1_Init();
  MX_TIM8_Init();
  /* USER CODE BEGIN 2 */

  /* USER CODE BEGIN 2 */

  // 1. Запускаем ведомый TIM8 на выдачу импульса 50 мкс на ножке PC9
  HAL_TIM_PWM_Start(&htim8, TIM_CHANNEL_4);

  HAL_TIM_Base_Start_IT(&htim1);  // Запускаем сам счетчик TIM1

   HAL_TIM_Base_Start(&htim2);

   __HAL_TIM_SET_COUNTER(&htim2,0);  // set the counter value a 0

   HAL_TIM_Encoder_Start(&htim3, TIM_CHANNEL_ALL);

   __HAL_TIM_SET_COUNTER(&htim3, 32767);

   HAL_TIM_Base_Start_IT(&htim4);

   HAL_TIM_PWM_Start(&htim5, TIM_CHANNEL_3);

   __HAL_UART_CLEAR_OREFLAG(&huart4);
   __HAL_UART_CLEAR_FEFLAG(&huart4);
   __HAL_UART_CLEAR_NEFLAG(&huart4);
   __HAL_UART_CLEAR_PEFLAG(&huart4);

   __HAL_UART_ENABLE_IT(&huart4, UART_IT_RXNE);   // прерывание на байт
   __HAL_UART_ENABLE_IT(&huart4, UART_IT_IDLE);   // прерывание на IDLE
   __HAL_UART_CLEAR_IDLEFLAG(&huart4);

  pkt_rx_init(&rx_pkt);

  nrf24l01p_rx_init(2500, _250kbps);

  ST7735_Init();
  // Очистка экрана
  ST7735_FillScreen(ST7735_BLACK);

  ST7735_WriteString(0, 0, "System Init...", Font_7x10, ST7735_WHITE, ST7735_BLACK);

  // Запуск инициализации PCA9685
  PCA9685_STATUS status = PCA9685_Init(&hi2c1);

  if (status == PCA9685_OK) {
      ST7735_WriteString(0, 15, "PCA9685: OK", Font_7x10, ST7735_GREEN, ST7735_BLACK);
  } else {
      char err_msg[20];
      sprintf(err_msg, "PCA9685: ERR %d", (int)status);
      ST7735_WriteString(0, 15, err_msg, Font_7x10, ST7735_RED, ST7735_BLACK);
  }

  PCA9685_SetPin(0, 1, 0);
  PCA9685_SetServoAngle(1, 0.0f);
  set_servo_angle_tim5(servo_angle_deg);

  HAL_Delay(50);

  /* USER CODE END 2 */

  /* Infinite loop */
  /* USER CODE BEGIN WHILE */
  while (1)
  {
      loop();
  }
    /* USER CODE END WHILE */

}

void SystemClock_Config(void)
{
  RCC_OscInitTypeDef RCC_OscInitStruct = {0};
  RCC_ClkInitTypeDef RCC_ClkInitStruct = {0};

  /** Supply configuration update enable
  */
  HAL_PWREx_ConfigSupply(PWR_LDO_SUPPLY);

  /** Configure the main internal regulator output voltage
  */
  __HAL_PWR_VOLTAGESCALING_CONFIG(PWR_REGULATOR_VOLTAGE_SCALE1);

  while(!__HAL_PWR_GET_FLAG(PWR_FLAG_VOSRDY)) {}

  __HAL_RCC_SYSCFG_CLK_ENABLE();
  __HAL_PWR_VOLTAGESCALING_CONFIG(PWR_REGULATOR_VOLTAGE_SCALE0);

  while(!__HAL_PWR_GET_FLAG(PWR_FLAG_VOSRDY)) {}

  /** Configure LSE Drive Capability
  */
  HAL_PWR_EnableBkUpAccess();
  __HAL_RCC_LSEDRIVE_CONFIG(RCC_LSEDRIVE_LOW);

  /** Macro to configure the PLL clock source
  */
  __HAL_RCC_PLL_PLLSOURCE_CONFIG(RCC_PLLSOURCE_HSE);

  /** Initializes the RCC Oscillators according to the specified parameters
  * in the RCC_OscInitTypeDef structure.
  */
  RCC_OscInitStruct.OscillatorType = RCC_OSCILLATORTYPE_HSE|RCC_OSCILLATORTYPE_LSE;
  RCC_OscInitStruct.HSEState = RCC_HSE_ON;
  RCC_OscInitStruct.LSEState = RCC_LSE_ON;
  RCC_OscInitStruct.PLL.PLLState = RCC_PLL_ON;
  RCC_OscInitStruct.PLL.PLLSource = RCC_PLLSOURCE_HSE;
  RCC_OscInitStruct.PLL.PLLM = 5;
  RCC_OscInitStruct.PLL.PLLN = 192;
  RCC_OscInitStruct.PLL.PLLP = 2;
  RCC_OscInitStruct.PLL.PLLQ = 15;
  RCC_OscInitStruct.PLL.PLLR = 15;
  RCC_OscInitStruct.PLL.PLLRGE = RCC_PLL1VCIRANGE_2;
  RCC_OscInitStruct.PLL.PLLVCOSEL = RCC_PLL1VCOWIDE;
  RCC_OscInitStruct.PLL.PLLFRACN = 0;
  if (HAL_RCC_OscConfig(&RCC_OscInitStruct) != HAL_OK)
  {
    Error_Handler();
  }

  /** Initializes the CPU, AHB and APB buses clocks
  */
  RCC_ClkInitStruct.ClockType = RCC_CLOCKTYPE_HCLK|RCC_CLOCKTYPE_SYSCLK
                              |RCC_CLOCKTYPE_PCLK1|RCC_CLOCKTYPE_PCLK2
                              |RCC_CLOCKTYPE_D3PCLK1|RCC_CLOCKTYPE_D1PCLK1;
  RCC_ClkInitStruct.SYSCLKSource = RCC_SYSCLKSOURCE_PLLCLK;
  RCC_ClkInitStruct.SYSCLKDivider = RCC_SYSCLK_DIV1;
  RCC_ClkInitStruct.AHBCLKDivider = RCC_HCLK_DIV2;
  RCC_ClkInitStruct.APB3CLKDivider = RCC_APB3_DIV2;
  RCC_ClkInitStruct.APB1CLKDivider = RCC_APB1_DIV2;
  RCC_ClkInitStruct.APB2CLKDivider = RCC_APB2_DIV2;
  RCC_ClkInitStruct.APB4CLKDivider = RCC_APB4_DIV2;

  if (HAL_RCC_ClockConfig(&RCC_ClkInitStruct, FLASH_LATENCY_4) != HAL_OK)
  {
    Error_Handler();
  }
}

/* USER CODE BEGIN 4 */

// 1. Прерывание от датчика (Data Ready)
void HAL_GPIO_EXTI_Callback(uint16_t GPIO_Pin)
{
    if(GPIO_Pin == NRF24L01_INT_Pin) flag_nrf24l01 = 1;
}

void HAL_SPI_TxCpltCallback(SPI_HandleTypeDef *hspi) {

	ST7735_IT_Callback(hspi);
}

void HAL_TIM_PeriodElapsedCallback(TIM_HandleTypeDef *htim)
{
	// measure velocity, position
	if(htim == &htim4) update_encoder();
}
/* USER CODE END 4 */

void Error_Handler(void)
{
  __disable_irq();
  while (1)
  {
  }
}
